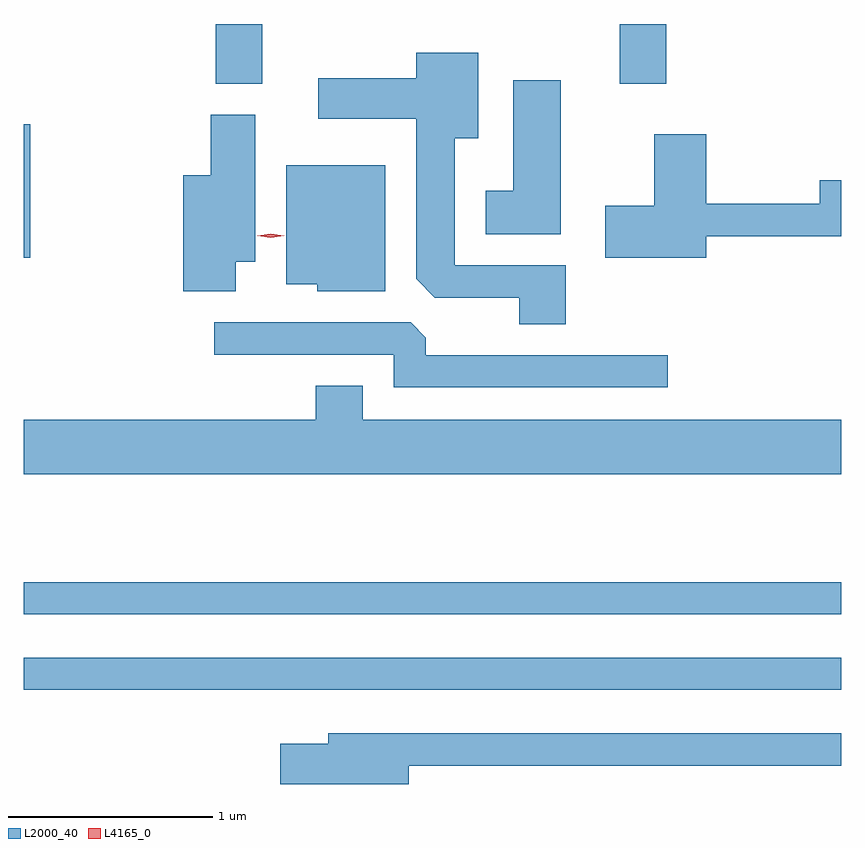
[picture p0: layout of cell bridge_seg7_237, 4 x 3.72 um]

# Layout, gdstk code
import gdstk
lib = gdstk.Library(unit=1e-6, precision=1e-09)
def R(c, l, rs):  # rectangles x0, y0, x1, y1
    for r in rs: c.add(gdstk.rectangle(r[:2], r[2:], *l))
def P(c, l, *ps):  # polygons
    for p in ps: c.add(gdstk.Polygon(p, *l))
L2000_40 = (2000, 40)
L4165_0 = (4165, 0)

bridge_seg7_237 = lib.new_cell('bridge_seg7_237')
R(bridge_seg7_237, L2000_40, [(1802.421,1697.721,1806.421,1697.879), (1802.421,1698.091,1806.421,1698.249), (1802.421,1699.836,1802.454,1700.489), (1803.361,1700.686,1803.589,1700.979), (1805.336,1700.686,1805.564,1700.979)])
P(bridge_seg7_237, L2000_40, [(1805.074,1699.799),(1804.529,1699.799),(1804.529,1700.421),(1804.644,1700.421),(1804.644,1700.839),(1804.341,1700.839),(1804.341,1700.714),(1803.861,1700.714),(1803.861,1700.516),(1804.341,1700.516),(1804.341,1699.732),(1804.432,1699.641),(1804.846,1699.641),(1804.846,1699.511),(1805.074,1699.511)],
  [(1805.049,1700.704),(1804.816,1700.704),(1804.816,1700.164),(1804.681,1700.164),(1804.681,1699.951),(1805.049,1699.951)],
  [(1803.459,1699.816),(1803.554,1699.816),(1803.554,1700.534),(1803.336,1700.534),(1803.336,1700.239),(1803.201,1700.239),(1803.201,1699.671),(1803.459,1699.671)],
  [(1805.759,1699.941),(1806.421,1699.941),(1806.421,1700.214),(1806.316,1700.214),(1806.316,1700.099),(1805.759,1700.099),(1805.759,1700.439),(1805.506,1700.439),(1805.506,1700.089),(1805.266,1700.089),(1805.266,1699.836),(1805.759,1699.836)],
  [(1804.189,1700.289),(1803.706,1700.289),(1803.706,1699.706),(1803.856,1699.706),(1803.856,1699.671),(1804.189,1699.671)],
  [(1805.573,1699.359),(1804.389,1699.359),(1804.389,1699.444),(1804.314,1699.519),(1803.353,1699.519),(1803.353,1699.361),(1804.231,1699.361),(1804.231,1699.201),(1805.573,1699.201)],
  [(1806.421,1699.044),(1804.079,1699.044),(1804.079,1699.209),(1803.851,1699.209),(1803.851,1699.044),(1802.421,1699.044),(1802.421,1698.776),(1806.421,1698.776)],
  [(1804.304,1697.351),(1806.421,1697.351),(1806.421,1697.509),(1803.911,1697.509),(1803.911,1697.459),(1803.676,1697.459),(1803.676,1697.261),(1804.304,1697.261)])
P(bridge_seg7_237, L4165_0, [(1803.629,1699.933),(1803.563,1699.942),(1803.563,1699.943),(1803.563,1699.943),(1803.629,1699.953),(1803.695,1699.943),(1803.695,1699.943),(1803.695,1699.942)])

lib.write_gds('bridge_seg7_237.gds')
